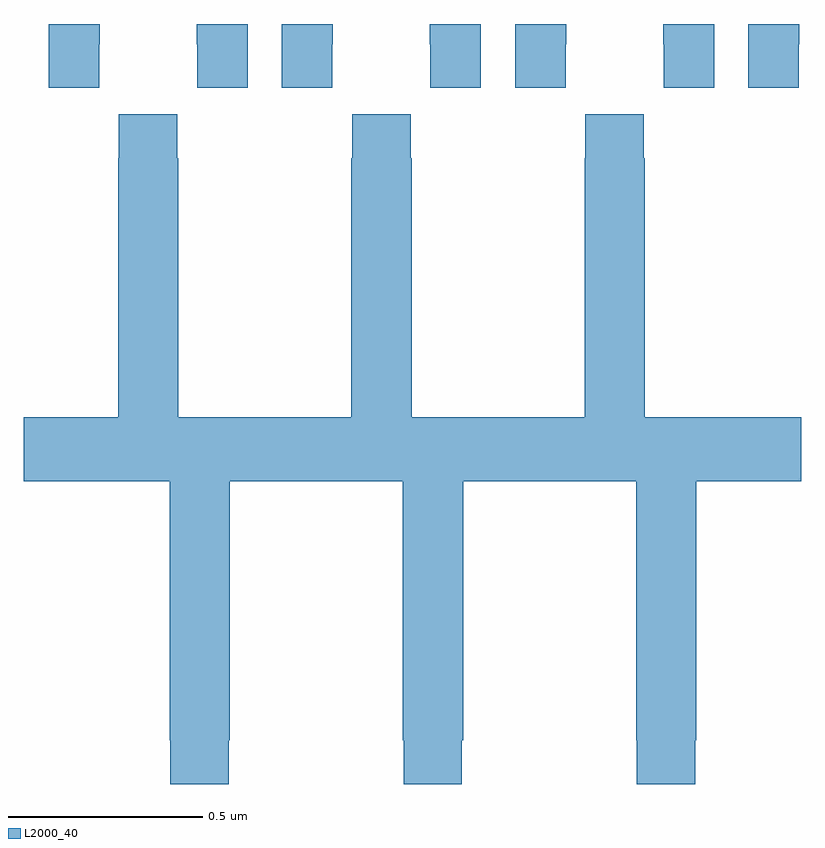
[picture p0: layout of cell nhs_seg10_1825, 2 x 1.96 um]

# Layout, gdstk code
import gdstk
lib = gdstk.Library(unit=1e-6, precision=1e-09)
def P(c, l, *ps):  # polygons
    for p in ps: c.add(gdstk.Polygon(p, *l))
L2000_40 = (2000, 40)

nhs_seg10_1825 = lib.new_cell('nhs_seg10_1825')
P(nhs_seg10_1825, L2000_40, [(134.176,1293.5),(134.045,1293.5),(134.045,1293.448),(134.046,1293.448),(134.046,1293.336),(134.176,1293.336)],
  [(134.394,1293.448),(134.395,1293.448),(134.395,1293.5),(134.264,1293.5),(134.264,1293.336),(134.394,1293.336)],
  [(134.776,1293.5),(134.645,1293.5),(134.645,1293.448),(134.646,1293.448),(134.646,1293.336),(134.776,1293.336)],
  [(134.994,1293.448),(134.995,1293.448),(134.995,1293.5),(134.864,1293.5),(134.864,1293.336),(134.994,1293.336)],
  [(133.194,1293.448),(133.195,1293.448),(133.195,1293.5),(133.064,1293.5),(133.064,1293.336),(133.194,1293.336)],
  [(133.576,1293.5),(133.445,1293.5),(133.445,1293.448),(133.446,1293.448),(133.446,1293.336),(133.576,1293.336)],
  [(133.794,1293.448),(133.795,1293.448),(133.795,1293.5),(133.664,1293.5),(133.664,1293.336),(133.794,1293.336)],
  [(133.527,1291.657),(133.53,1291.657),(133.53,1292.324),(133.975,1292.324),(133.975,1291.657),(133.977,1291.657),(133.977,1291.545),(134.127,1291.545),(134.127,1291.657),(134.13,1291.657),(134.13,1292.324),(134.575,1292.324),(134.575,1291.657),(134.577,1291.657),(134.577,1291.545),(134.727,1291.545),(134.727,1291.657),(134.73,1291.657),(134.73,1292.324),(135,1292.324),(135,1292.488),(134.598,1292.488),(134.598,1293.155),(134.595,1293.155),(134.595,1293.268),(134.445,1293.268),(134.445,1293.155),(134.443,1293.155),(134.443,1292.488),(133.998,1292.488),(133.998,1293.155),(133.995,1293.155),(133.995,1293.268),(133.845,1293.268),(133.845,1293.155),(133.843,1293.155),(133.843,1292.488),(133.398,1292.488),(133.398,1293.155),(133.395,1293.155),(133.395,1293.268),(133.245,1293.268),(133.245,1293.155),(133.243,1293.155),(133.243,1292.488),(133,1292.488),(133,1292.324),(133.375,1292.324),(133.375,1291.657),(133.377,1291.657),(133.377,1291.545),(133.527,1291.545)])

lib.write_gds('nhs_seg10_1825.gds')
